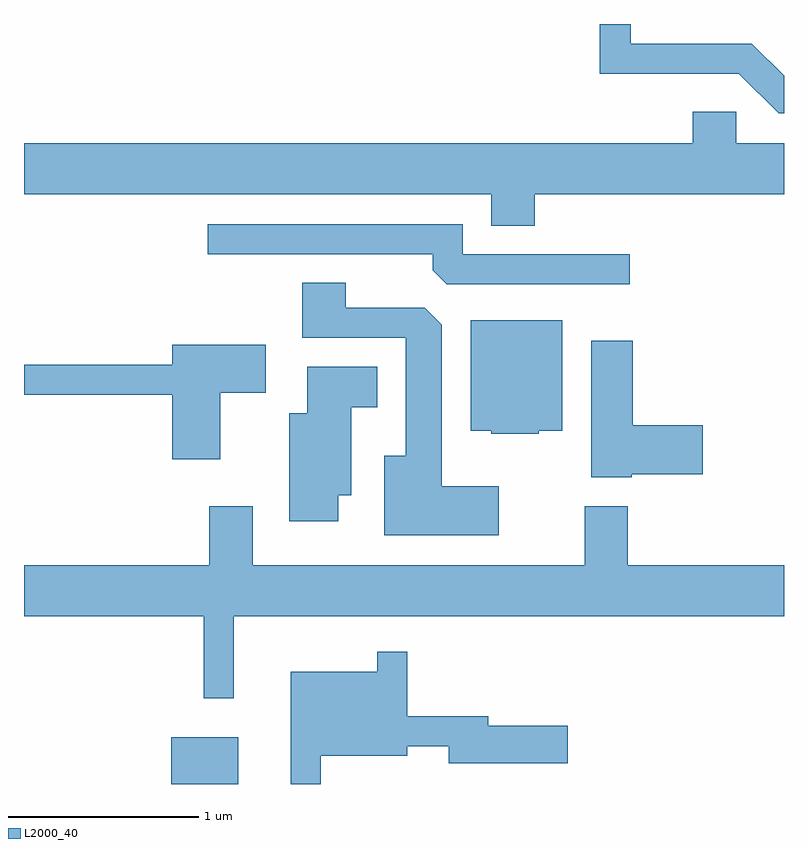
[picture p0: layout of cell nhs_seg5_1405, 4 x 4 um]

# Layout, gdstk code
import gdstk
lib = gdstk.Library(unit=1e-6, precision=1e-09)
def R(c, l, rs):  # rectangles x0, y0, x1, y1
    for r in rs: c.add(gdstk.rectangle(r[:2], r[2:], *l))
def P(c, l, *ps):  # polygons
    for p in ps: c.add(gdstk.Polygon(p, *l))
L2000_40 = (2000, 40)

nhs_seg5_1405 = lib.new_cell('nhs_seg5_1405')
R(nhs_seg5_1405, L2000_40, [(226.386,1518.072,226.739,1518.319)])
P(nhs_seg5_1405, L2000_40, [(229.611,1521.8),(229.442,1521.969),(228.804,1521.969),(228.804,1522.072),(228.641,1522.072),(228.641,1521.811),(229.374,1521.811),(229.584,1521.601),(229.611,1521.601)],
  [(228.299,1521.176),(229.611,1521.176),(229.611,1521.444),(229.359,1521.444),(229.359,1521.609),(229.131,1521.609),(229.131,1521.444),(225.611,1521.444),(225.611,1521.176),(228.071,1521.176),(228.071,1521.011),(228.299,1521.011)],
  [(228.798,1520.859),(227.919,1520.859),(227.919,1521.019),(226.578,1521.019),(226.578,1520.861),(227.761,1520.861),(227.761,1520.777),(227.837,1520.701),(228.798,1520.701)],
  [(228.109,1519.639),(227.809,1519.639),(227.809,1520.489),(227.719,1520.579),(227.304,1520.579),(227.304,1520.709),(227.076,1520.709),(227.076,1520.421),(227.621,1520.421),(227.621,1519.799),(227.506,1519.799),(227.506,1519.381),(228.109,1519.381)],
  [(228.32,1519.931),(228.444,1519.931),(228.444,1520.514),(227.961,1520.514),(227.961,1519.931),(228.07,1519.931),(228.07,1519.916),(228.32,1519.916)],
  [(228.81,1519.701),(229.184,1519.701),(229.184,1519.959),(228.814,1519.959),(228.814,1520.404),(228.596,1520.404),(228.596,1519.686),(228.81,1519.686)],
  [(226.644,1520.131),(226.884,1520.131),(226.884,1520.384),(226.391,1520.384),(226.391,1520.279),(225.611,1520.279),(225.611,1520.121),(226.391,1520.121),(226.391,1519.781),(226.644,1519.781)],
  [(227.264,1519.591),(227.334,1519.591),(227.334,1520.056),(227.469,1520.056),(227.469,1520.269),(227.101,1520.269),(227.101,1520.024),(227.006,1520.024),(227.006,1519.456),(227.264,1519.456)],
  [(226.714,1518.956),(229.611,1518.956),(229.611,1519.224),(228.789,1519.224),(228.789,1519.534),(228.561,1519.534),(228.561,1519.224),(226.814,1519.224),(226.814,1519.534),(226.586,1519.534),(226.586,1519.224),(225.611,1519.224),(225.611,1518.956),(226.556,1518.956),(226.556,1518.523),(226.714,1518.523)],
  [(227.174,1518.221),(227.629,1518.221),(227.629,1518.271),(227.846,1518.271),(227.846,1518.181),(228.474,1518.181),(228.474,1518.379),(228.054,1518.379),(228.054,1518.429),(227.629,1518.429),(227.629,1518.768),(227.471,1518.768),(227.471,1518.664),(227.016,1518.664),(227.016,1518.072),(227.174,1518.072)])

lib.write_gds('nhs_seg5_1405.gds')
